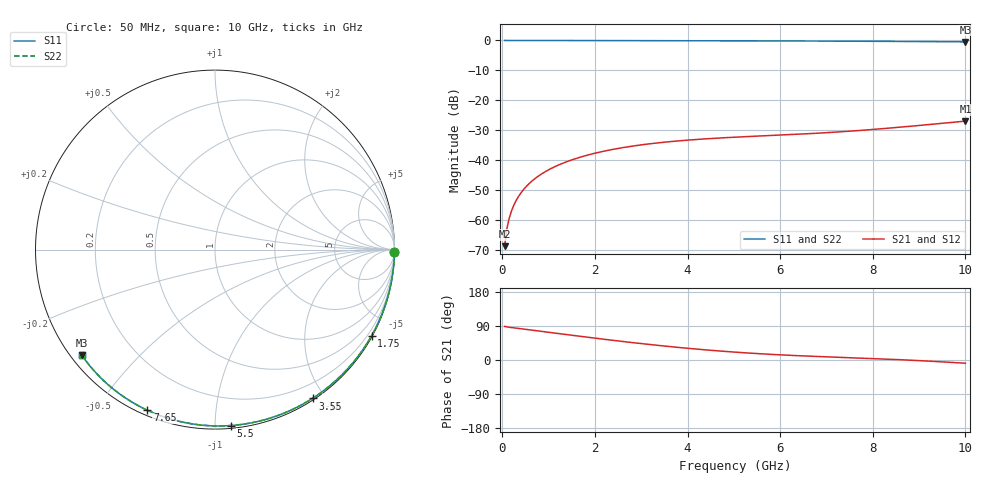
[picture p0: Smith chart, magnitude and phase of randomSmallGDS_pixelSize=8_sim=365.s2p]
! freq	dB(S11)	phase(S11)	dB(S12)	phase(S12)
!  dB(S21)	phase(S21)	dB(S22)	phase(S22)
!S-par simulation data
#  GHz  S  DB  R 50
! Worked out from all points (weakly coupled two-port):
!   200 points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, 50 MHz to 10 GHz, reference 50 ohm
!   highest |S21| = -27.01 dB at 10 GHz (marker M1); lowest = -68.9 dB at 50 MHz (marker M2)
!   lowest |S11| = -0.5 dB at 10 GHz (marker M3), VSWR 36.86, Z = 1.52 - j17.4 ohm
!   |S11| at or under -10 dB: nowhere
!   |S22| runs from -0.5 to 0.0 dB; largest |S21 - S12| = 0
!   S11 on the Smith chart (normalised r, x): 50 MHz: open; 1.75 GHz: 0.03, -3.90; 3.55 GHz: 0.02, -1.85; 5.5 GHz: 0.02, -1.10; 7.65 GHz: 0.02, -0.66; 10 GHz: 0.03, -0.35
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0.05  -0.00 -0.8  -68.88 88.5  -68.88 88.5  -0.00 -0.8
0.1  -0.00 -1.7  -62.94 87.3  -62.94 87.3  -0.00 -1.7
0.15  -0.00 -2.5  -59.48 86.4  -59.48 86.4  -0.00 -2.5
0.2  -0.00 -3.3  -57.03 85.6  -57.03 85.6  -0.00 -3.3
0.25  -0.00 -4.2  -55.13 84.9  -55.13 84.9  -0.00 -4.2
0.35  -0.00 -5.8  -52.25 83.4  -52.25 83.4  -0.00 -5.8
0.5  -0.01 -8.3  -49.19 81.2  -49.19 81.2  -0.01 -8.3
0.7  -0.01 -11.6  -46.32 78.0  -46.32 78.0  -0.01 -11.6
1  -0.02 -16.6  -43.31 73.3  -43.31 73.3  -0.02 -16.6
1.35  -0.03 -22.3  -40.84 67.7  -40.84 67.7  -0.03 -22.3
1.75  -0.04 -28.7  -38.78 61.5  -38.78 61.5  -0.04 -28.7
2.5  -0.05 -40.6  -36.16 50.3  -36.16 50.3  -0.05 -40.6
3.4  -0.07 -54.5  -34.23 38.1  -34.23 38.1  -0.07 -54.5
3.55  -0.08 -56.8  -33.99 36.2  -33.99 36.2  -0.08 -56.8
4.3  -0.10 -67.8  -33.04 27.7  -33.04 27.7  -0.10 -67.8
5.05  -0.12 -78.5  -32.37 20.5  -32.37 20.5  -0.12 -78.5
5.5  -0.14 -84.7  -32.03 16.9  -32.03 16.9  -0.14 -84.7
6.7  -0.19 -100.7  -31.15 9.8  -31.15 9.8  -0.19 -100.7
7.65  -0.25 -112.8  -30.22 5.5  -30.22 5.5  -0.25 -112.8
8.35  -0.31 -121.5  -29.36 2.1  -29.36 2.1  -0.31 -121.5
9.2  -0.39 -131.9  -28.18 -2.9  -28.18 -2.9  -0.39 -131.9
10  -0.47 -141.6  -27.01 -8.5  -27.01 -8.5  -0.47 -141.6
